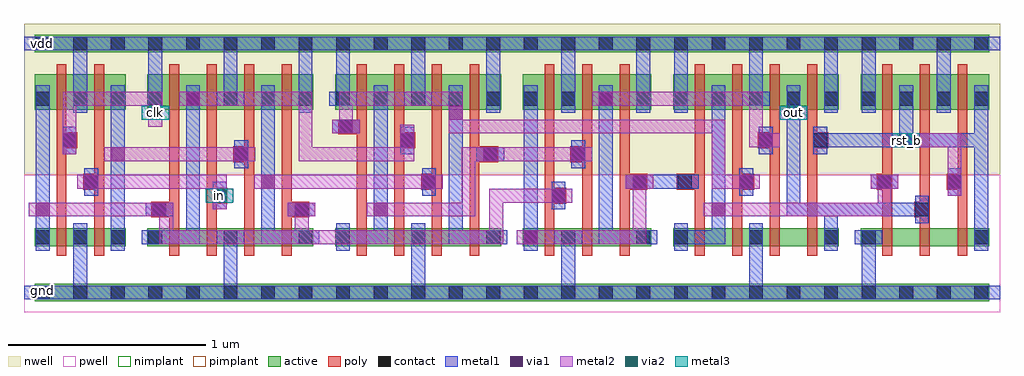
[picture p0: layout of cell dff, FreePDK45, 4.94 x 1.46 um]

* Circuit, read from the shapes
.subckt dff clk gnd in out rst_b vdd
M1 gnd clk n1 gnd nfet w=0.09u l=0.05u
M2 n2 in gnd gnd nfet w=0.09u l=0.05u
M3 n3 n1 n4 gnd nfet w=0.09u l=0.05u
M4 gnd in n3 gnd nfet w=0.09u l=0.05u
M5 n5 n2 gnd gnd nfet w=0.09u l=0.05u
M6 n6 n1 n5 gnd nfet w=0.09u l=0.05u
M7 n7 n8 n9 gnd nfet w=0.09u l=0.05u
M8 gnd n4 n7 gnd nfet w=0.09u l=0.05u
M9 n10 n6 gnd gnd nfet w=0.09u l=0.05u
M10 n8 n9 n10 gnd nfet w=0.09u l=0.05u
M11 gnd n1 n11 gnd nfet w=0.09u l=0.05u
M12 n12 n9 gnd gnd nfet w=0.09u l=0.05u
M13 n13 n11 n12 gnd nfet w=0.09u l=0.05u
M14 n14 n11 n15 gnd nfet w=0.09u l=0.05u
M15 gnd n8 n14 gnd nfet w=0.09u l=0.05u
M16 n16 n13 gnd gnd nfet w=0.09u l=0.05u
M17 out n17 n16 gnd nfet w=0.09u l=0.05u
M18 n18 n15 gnd gnd nfet w=0.09u l=0.05u
M19 n19 out n18 gnd nfet w=0.09u l=0.05u
M20 n17 rst_b n19 gnd nfet w=0.09u l=0.05u
M21 vdd clk n1 vdd pfet w=0.18u l=0.05u
M22 n2 in vdd vdd pfet w=0.18u l=0.05u
M23 n4 n1 vdd vdd pfet w=0.18u l=0.05u
M24 vdd in n4 vdd pfet w=0.18u l=0.05u
M25 n6 n2 vdd vdd pfet w=0.18u l=0.05u
M26 vdd n1 n6 vdd pfet w=0.18u l=0.05u
M27 n9 n8 vdd vdd pfet w=0.18u l=0.05u
M28 vdd n4 n9 vdd pfet w=0.18u l=0.05u
M29 n8 n6 vdd vdd pfet w=0.18u l=0.05u
M30 vdd n9 n8 vdd pfet w=0.18u l=0.05u
M31 vdd n1 n11 vdd pfet w=0.18u l=0.05u
M32 n13 n9 vdd vdd pfet w=0.18u l=0.05u
M33 vdd n11 n13 vdd pfet w=0.18u l=0.05u
M34 n15 n11 vdd vdd pfet w=0.18u l=0.05u
M35 vdd n8 n15 vdd pfet w=0.18u l=0.05u
M36 out n13 vdd vdd pfet w=0.18u l=0.05u
M37 vdd n17 out vdd pfet w=0.18u l=0.05u
M38 n17 n15 vdd vdd pfet w=0.18u l=0.05u
M39 vdd out n17 vdd pfet w=0.18u l=0.05u
M40 n17 rst_b vdd vdd pfet w=0.18u l=0.05u
.ends

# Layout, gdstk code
import gdstk
lib = gdstk.Library(unit=1e-6, precision=5e-10)
def R(c, l, rs):  # rectangles x0, y0, x1, y1
    for r in rs: c.add(gdstk.rectangle(r[:2], r[2:], *l))
def A(c, l, x, y, w, h, nx, ny, dx, dy):  # array of equal rectangles
    R(c, l, [(x+i*dx, y+j*dy, x+i*dx+w, y+j*dy+h) for i in range(nx) for j in range(ny)])
active = (1, 0)
pwell = (2, 0)
nwell = (3, 0)
nimplant = (4, 0)
pimplant = (5, 0)
poly = (9, 0)
contact = (10, 0)
metal1 = (11, 0)
via1 = (12, 0)
metal2 = (13, 0)
via2 = (14, 0)
metal3 = (15, 0)

dff = lib.new_cell('dff')
R(dff, active, [(0.055,-0.045,4.885,0.045), (0.055,0.235,0.515,0.325), (0.625,0.235,1.465,0.325), (1.575,0.235,2.415,0.325), (2.525,0.235,3.175,0.325), (3.285,0.235,4.125,0.325), (4.235,0.235,4.885,0.325), (0.055,0.925,0.515,1.105), (0.625,0.925,1.465,1.105), (1.575,0.925,2.415,1.105), (2.525,0.925,3.175,1.105), (3.285,0.925,4.125,1.105), (4.235,0.925,4.885,1.105), (0.055,1.215,4.885,1.305)])
R(dff, pwell, [(0,-0.1,4.94,0.595)])
R(dff, nwell, [(0,0.595,4.94,1.36)])
R(dff, nimplant, [(0.055,0.235,0.515,0.325), (0.625,0.235,1.465,0.325), (1.575,0.235,2.415,0.325), (2.525,0.235,3.175,0.325), (3.285,0.235,4.125,0.325), (4.235,0.235,4.885,0.325), (0.055,1.215,4.885,1.305)])
R(dff, pimplant, [(0.055,-0.045,4.885,0.045), (0.055,0.925,0.515,1.105), (0.625,0.925,1.465,1.105), (1.575,0.925,2.415,1.105), (2.525,0.925,3.175,1.105), (3.285,0.925,4.125,1.105), (4.235,0.925,4.885,1.105)])
A(dff, poly, 0.735, 0.185, 0.05, 0.97, 4, 1, 0.19, 0)
A(dff, poly, 1.685, 0.185, 0.05, 0.97, 4, 1, 0.19, 0)
A(dff, poly, 2.635, 0.185, 0.05, 0.97, 3, 1, 0.19, 0)
A(dff, poly, 3.395, 0.185, 0.05, 0.97, 4, 1, 0.19, 0)
A(dff, poly, 4.345, 0.185, 0.05, 0.97, 3, 1, 0.19, 0)
R(dff, poly, [(0.165,0.185,0.215,1.155), (0.355,0.185,0.405,1.155), (0.645,0.38,0.735,0.46), (1.355,0.38,1.445,0.46), (4.505,0.38,4.535,0.46), (0.975,0.45,1.03,0.53), (2.685,0.45,2.745,0.53), (0.3,0.52,0.355,0.6), (2.01,0.52,2.065,0.6), (3.065,0.52,3.155,0.6), (3.305,0.52,3.395,0.6), (3.635,0.52,3.695,0.6), (4.315,0.52,4.345,0.6), (4.67,0.52,4.725,0.6), (1.06,0.66,1.115,0.74), (2.305,0.66,2.4,0.74), (2.765,0.66,2.825,0.74), (0.215,0.73,0.27,0.81), (1.925,0.73,1.98,0.81), (3.715,0.73,3.775,0.81), (4.015,0.73,4.07,0.81), (1.59,0.8,1.685,0.875)])
A(dff, contact, 0.06, -0.035, 0.07, 0.07, 26, 2, 0.19, 0.98)
A(dff, contact, 0.06, 0.245, 0.07, 0.07, 4, 1, 0.19, 0)
A(dff, contact, 1.58, 0.245, 0.07, 0.07, 3, 1, 0.38, 0)
A(dff, contact, 3.29, 0.245, 0.07, 0.07, 3, 1, 0.38, 0)
A(dff, contact, 0.06, 1.225, 0.07, 0.07, 26, 1, 0.19, 0)
R(dff, contact, [(0.06,0.245,0.13,0.315), (1.01,0.245,1.08,0.315), (1.39,0.245,1.46,0.315), (2.53,0.245,2.6,0.315), (2.72,0.245,2.79,0.315), (3.1,0.245,3.17,0.315), (4.24,0.245,4.31,0.315), (4.81,0.245,4.88,0.315), (4.51,0.385,4.58,0.455), (0.65,0.39,0.72,0.455), (1.37,0.39,1.44,0.455), (0.955,0.455,1.025,0.525), (2.67,0.455,2.74,0.525), (0.305,0.525,0.375,0.595), (2.015,0.525,2.085,0.595), (3.08,0.525,3.15,0.595), (3.31,0.525,3.38,0.595), (3.62,0.525,3.69,0.595), (4.32,0.525,4.39,0.595), (4.675,0.525,4.745,0.595), (1.065,0.665,1.135,0.735), (2.325,0.665,2.395,0.735), (2.77,0.665,2.84,0.735), (0.195,0.735,0.265,0.805), (1.905,0.735,1.975,0.805), (3.72,0.735,3.79,0.805), (3.995,0.735,4.065,0.805), (1.595,0.805,1.665,0.87)])
A(dff, metal1, 0.25, 0.035, 0.07, 0.315, 3, 1, 1.71, 0)
A(dff, metal1, 2.34, 0.91, 0.07, 0.315, 3, 1, 0.38, 0)
R(dff, metal1, [(0,-0.035,4.94,0.035), (1.01,0.035,1.08,0.245), (2.72,0.035,2.79,0.245), (4.24,0.035,4.31,0.245), (0.06,0.21,0.13,1.05), (0.44,0.21,0.51,1.05), (1.58,0.21,1.65,0.35), (2.53,0.21,2.6,1.05), (3.29,0.21,3.36,0.35), (4.05,0.21,4.12,0.385), (4.81,0.21,4.88,1.05), (0.595,0.245,0.82,0.315), (0.82,0.245,0.89,1.05), (0.975,0.245,1.115,0.315), (1.2,0.245,1.27,1.05), (1.27,0.245,1.495,0.315), (1.65,0.245,1.77,0.315), (1.77,0.245,1.84,1.05), (2.15,0.245,2.22,1.05), (2.22,0.245,2.445,0.315), (2.685,0.245,2.825,0.315), (2.91,0.245,2.98,1.05), (2.98,0.245,3.205,0.315), (3.36,0.245,3.48,0.315), (3.48,0.245,3.55,1.05), (4.205,0.245,4.345,0.315), (4.51,0.35,4.58,0.49), (0.615,0.385,0.755,0.455), (1.335,0.385,1.475,0.455), (3.86,0.385,4.51,0.455), (0.955,0.42,1.025,0.56), (2.67,0.42,2.74,0.56), (3.86,0.455,3.93,1.05), (0.305,0.49,0.375,0.63), (2.015,0.49,2.085,0.63), (3.62,0.49,3.69,0.63), (4.675,0.49,4.745,0.63), (3.045,0.525,3.415,0.595), (4.285,0.525,4.425,0.595), (1.065,0.63,1.135,0.77), (2.77,0.63,2.84,0.77), (2.29,0.665,2.43,0.735), (0.195,0.7,0.265,0.84), (1.905,0.7,1.975,0.84), (3.72,0.7,3.79,0.84), (3.995,0.7,4.065,0.84), (4.065,0.735,4.81,0.805), (1.56,0.805,1.7,0.875), (4.43,0.805,4.5,1.05), (0.25,0.91,0.32,1.225), (0.63,0.91,0.7,1.225), (1.39,0.91,1.46,1.225), (3.29,0.91,3.36,1.225), (4.05,0.91,4.12,1.225), (4.24,0.91,4.31,1.225), (4.62,0.91,4.69,1.225), (0.975,0.945,1.115,1.015), (1.545,0.945,1.685,1.015), (1.925,0.945,2.065,1.015), (3.635,0.945,3.775,1.015), (1.01,1.015,1.08,1.225), (1.58,1.015,1.65,1.225), (1.96,1.015,2.03,1.225), (3.67,1.015,3.74,1.225), (0,1.225,4.94,1.295)])
R(dff, via1, [(2.53,0.245,2.6,0.315), (0.06,0.385,0.13,0.455), (0.65,0.385,0.72,0.455), (1.37,0.385,1.44,0.455), (1.77,0.385,1.84,0.455), (3.48,0.385,3.55,0.455), (0.955,0.455,1.025,0.525), (2.67,0.455,2.74,0.525), (0.305,0.525,0.375,0.595), (1.2,0.525,1.27,0.595), (2.015,0.525,2.085,0.595), (3.08,0.525,3.15,0.595), (3.62,0.525,3.69,0.595), (4.32,0.525,4.39,0.595), (4.675,0.525,4.745,0.595), (0.44,0.665,0.51,0.735), (1.065,0.665,1.135,0.735), (2.325,0.665,2.395,0.735), (2.77,0.665,2.84,0.735), (0.195,0.735,0.265,0.805), (1.905,0.735,1.975,0.805), (3.72,0.735,3.79,0.805), (1.595,0.805,1.665,0.875), (2.15,0.875,2.22,0.945), (3.86,0.875,3.93,0.945), (0.82,0.945,0.89,1.015), (2.91,0.945,2.98,1.015)])
R(dff, metal2, [(0.685,0.245,2.425,0.315), (2.495,0.245,3.15,0.315), (0.685,0.315,0.755,0.385), (1.37,0.315,1.44,0.385), (2.355,0.315,2.425,0.455), (3.08,0.315,3.15,0.525), (0.025,0.385,0.755,0.455), (1.335,0.385,1.475,0.455), (1.735,0.385,2.285,0.455), (3.44,0.385,4.39,0.455), (0.955,0.42,1.025,0.595), (2.215,0.455,2.285,0.665), (2.355,0.455,2.775,0.525), (4.32,0.455,4.39,0.525), (4.675,0.49,4.745,0.735), (0.27,0.525,0.955,0.595), (1.165,0.525,2.12,0.595), (3.045,0.525,3.185,0.595), (3.48,0.525,3.725,0.595), (4.285,0.525,4.425,0.595), (3.48,0.595,3.55,0.805), (0.405,0.665,1.17,0.735), (1.39,0.665,1.46,0.945), (1.46,0.665,1.905,0.735), (1.905,0.665,1.975,0.85), (2.215,0.665,2.875,0.735), (0.195,0.7,0.265,0.945), (3.67,0.735,3.825,0.805), (4.395,0.735,4.745,0.805), (1.56,0.805,1.7,0.875), (2.15,0.805,2.22,1.015), (2.22,0.805,3.55,0.875), (3.67,0.805,3.74,0.945), (0.63,0.84,0.7,1.015), (1.595,0.875,1.665,0.945), (3.825,0.875,3.965,0.945), (0.195,0.945,0.63,1.015), (0.785,0.945,1.46,1.015), (1.595,0.945,2.15,1.015), (2.875,0.945,3.74,1.015)])
R(dff, via2, [(0.955,0.455,1.025,0.525), (4.43,0.735,4.5,0.805), (0.63,0.875,0.7,0.945), (3.86,0.875,3.93,0.945)])
R(dff, metal3, [(0.92,0.455,1.06,0.525), (4.395,0.735,4.535,0.805), (0.595,0.875,0.735,0.945), (3.825,0.875,3.965,0.945)])
dff.add(gdstk.Label('rst_b', (4.465,0.77), layer=15, texttype=0))
dff.add(gdstk.Label('out', (3.895,0.91), layer=15, texttype=0))
dff.add(gdstk.Label('in', (0.99,0.49), layer=15, texttype=0))
dff.add(gdstk.Label('clk', (0.665,0.91), layer=15, texttype=0))
dff.add(gdstk.Label('vdd', (0.095,1.26), layer=11, texttype=0))
dff.add(gdstk.Label('gnd', (0.095,0.01), layer=11, texttype=0))

lib.write_gds('dff.gds')
